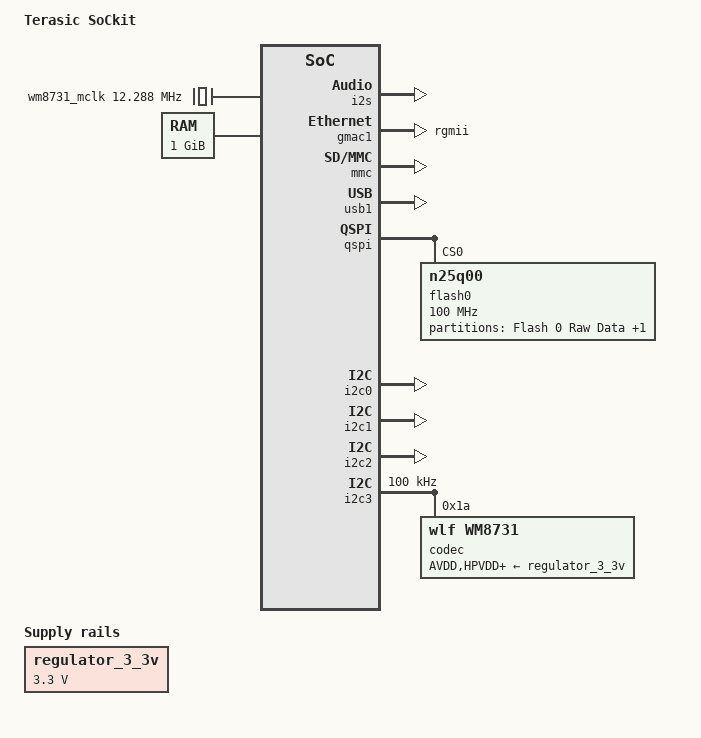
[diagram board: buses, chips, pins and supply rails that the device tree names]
/*
*  Copyright (C) 2013 Steffen Trumtrar <s.trumtrar@pengutronix.de>
*
* This program is free software; you can redistribute it and/or modify
* it under the terms of the GNU General Public License as published by
* the Free Software Foundation; either version 2 of the License, or
* (at your option) any later version.
*
* This program is distributed in the hope that it will be useful,
* but WITHOUT ANY WARRANTY; without even the implied warranty of
* MERCHANTABILITY or FITNESS FOR A PARTICULAR PURPOSE.  See the
* GNU General Public License for more details.
*
* You should have received a copy of the GNU General Public License
* along with this program.  If not, see <http://www.gnu.org/licenses/>.
*/

#include "socfpga_cyclone5.dtsi"
#include <dt-bindings/interrupt-controller/irq.h>

/ {
    model = "Terasic SoCkit";
    compatible = "altr,socfpga-cyclone5", "altr,socfpga";
    
/*
    sound { 

        compatible = "opencores,de1soc-wm8731-audio";
        i2s-controller = <&i2s>;
        audio-codec = <&codec>;
        i2c-mux-gpio = <&gpio1 19 0>;
    };
    */
    sound {
        compatible = "simple-audio-card";
        simple-audio-card,name = "Tickle-Sound-Card";
        
        simple-audio-card,format = "i2s";
        status = "okay";

        simple-audio-card,widgets =
                                "Headphone", "Headphone Jack",
                                "Microphone", "Microphone Jack",
                                "Line", "Line In";
        simple-audio-card,routing =
                                "Headphone Jack", "RHPOUT",
                                "Headphone Jack", "LHPOUT",
                                "LLINEIN", "Line In",
                                "RLINEIN", "Line In",
                                "MICIN", "Microphone Jack";
                                /* "MICIN", "Mic Bias", */
                                /* "Mic Bias", "Microphone Jack"; */

        simple-audio-card,cpu {
            sound-dai = <&i2s 0>;
            bitclock-master;
            frame-master;

        };

        simple-audio-card,codec {
            sound-dai = <&codec>;
        };

    };
    
    wm8731_mclk: wm8731 {
                compatible = "fixed-clock";
                #clock-cells = <0>;
                clock-frequency = <12288000>;
    };

    clk48: clk48 {
        compatible = "fixed-clock";
        #clock-cells = <0>;
        clock-frequency  = <24576000>;
        clock-output-names = "clk48";
    };

    clk44: clk44 {
        compatible = "fixed-clock";
        #clock-cells = <0>;
        clock-frequency  = <33868800>;
        clock-output-names = "clk44";
    };

    i2s: i2s@0 {
        #sound-dai-cells = <1>;
        compatible = "opencores,i2s";
        reg = <0xff200000 0x20>, <0xff200020 0x20>;
        clocks = <&clk44>, <&clk48>;
        clock-names = "clk44", "clk48";
        dmas = <&pdma 0>, <&pdma 1>;
        dma-names = "tx", "rx";
    };

    chosen {
        bootargs = "console=ttyS0,115200";
    };

    memory {
        name = "memory";
        device_type = "memory";
        reg = <0x0 0x40000000>; /* 1GB */
    };

    aliases {
        /* this allow the ethaddr uboot environmnet variable contents
        * to be added to the gmac1 device tree blob.
        */
        ethernet0 = &gmac1;
    };

    regulator_3_3v: vcc3p3-regulator {
        compatible = "regulator-fixed";
        regulator-name = "VCC3P3";
        regulator-min-microvolt = <3300000>;
        regulator-max-microvolt = <3300000>;
    };
};

&gmac1 {
    status = "okay";
    phy-mode = "rgmii";

    rxd0-skew-ps = <0>;
    rxd1-skew-ps = <0>;
    rxd2-skew-ps = <0>;
    rxd3-skew-ps = <0>;
    txen-skew-ps = <0>;
    txc-skew-ps = <2600>;
    rxdv-skew-ps = <0>;
    rxc-skew-ps = <2000>;
};
/*
&mmc0 {
    vmmc-supply = <&regulator_3_3v>;
    vqmmc-supply = <&regulator_3_3v>;
};*/

&mmc {
    status = "okay";
    num-slots = <0x1>;
    supports-highspeed;
    broken-cd;
    altr,dw-mshc-ciu-div = <0x3>;
    altr,dw-mshc-sdr-timing = <0x0 0x3>;

    slot@0 {
        reg = <0x0>;
        bus-width = <0x4>;
    };
};


&usb1 {
    status = "okay";
};

&qspi {
    flash0: n25q00@0 {
        #address-cells = <1>;
        #size-cells = <1>;
        compatible = "n25q00";
        reg = <0>;      /* chip select */
        spi-max-frequency = <100000000>;
        m25p,fast-read;
        page-size = <256>;
        block-size = <16>; /* 2^16, 64KB */
        read-delay = <4>;  /* delay value in read data capture register */
        tshsl-ns = <50>;
        tsd2d-ns = <50>;
        tchsh-ns = <4>;
        tslch-ns = <4>;

        partition@qspi-boot {
            /* 8MB for raw data. */
            label = "Flash 0 Raw Data";
            reg = <0x0 0x800000>;
        };

        partition@qspi-rootfs {
            /* 120MB for jffs2 data. */
            label = "Flash 0 jffs2 Filesystem";
            reg = <0x800000 0x7800000>;
        };
    };
};

&i2c0 {
    status = "okay";
};

&i2c1{
    status = "okay";
};

&i2c2 {
    status = "okay";
};

&i2c3 {
    status = "okay";
    clock-frequency = <100000>;
    i2c-sda-hold-time-ns = <300>;
    i2c-sda-falling-time-ns = <50>;
    i2c-scl-falling-time-ns = <50>;
    speed-mode = <0>;
    
    codec: wm8731@1a { //codec: wm8731@34 {
        #sound-dai-cells = <0>;
        compatible = "wlf,wm8731";
        reg = <0x1a>;
        AVDD-supply = <&regulator_3_3v>;
        HPVDD-supply = <&regulator_3_3v>;
        DCVDD-supply = <&regulator_3_3v>;
        DBVDD-supply = <&regulator_3_3v>;
    };
};
